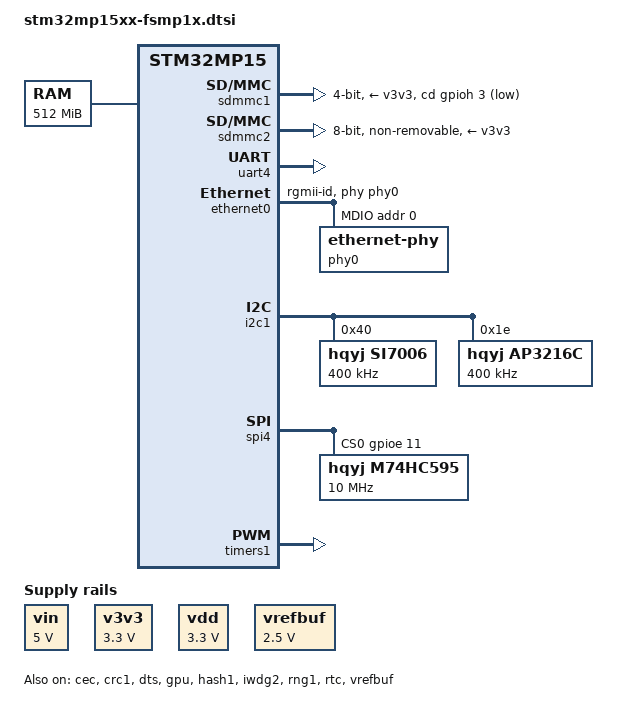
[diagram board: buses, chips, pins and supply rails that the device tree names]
// SPDX-License-Identifier: (GPL-2.0+ OR BSD-3-Clause)
/*
 * Copyright (C) STMicroelectronics 2019 - All Rights Reserved
 * Author: Alexandre Torgue <alexandre.torgue@st.com> for STMicroelectronics.
 */

#include "stm32mp15-m4-srm.dtsi"
#include "stm32mp15-m4-srm-pinctrl.dtsi"
#include <dt-bindings/gpio/gpio.h>
#include <dt-bindings/mfd/st,stpmic1.h>

/ {
	memory@c0000000 {
		device_type = "memory";
		reg = <0xc0000000 0x20000000>;
	};

	reserved-memory {
		#address-cells = <1>;
		#size-cells = <1>;
		ranges;

		mcuram2: mcuram2@10000000 {
			compatible = "shared-dma-pool";
			reg = <0x10000000 0x40000>;
			no-map;
		};

		vdev0vring0: vdev0vring0@10040000 {
			compatible = "shared-dma-pool";
			reg = <0x10040000 0x1000>;
			no-map;
		};

		vdev0vring1: vdev0vring1@10041000 {
			compatible = "shared-dma-pool";
			reg = <0x10041000 0x1000>;
			no-map;
		};

		vdev0buffer: vdev0buffer@10042000 {
			compatible = "shared-dma-pool";
			reg = <0x10042000 0x4000>;
			no-map;
		};

		mcuram: mcuram@30000000 {
			compatible = "shared-dma-pool";
			reg = <0x30000000 0x40000>;
			no-map;
		};

		retram: retram@38000000 {
			compatible = "shared-dma-pool";
			reg = <0x38000000 0x10000>;
			no-map;
		};

	};



	vin: vin {
		compatible = "regulator-fixed";
		regulator-name = "vin";
		regulator-min-microvolt = <5000000>;
		regulator-max-microvolt = <5000000>;
		regulator-always-on;
	};
		  v3v3: regulator-3p3v {
        compatible = "regulator-fixed";
        regulator-name = "v3v3";
        regulator-min-microvolt = <3300000>;
        regulator-max-microvolt = <3300000>;
        regulator-always-on;
        regulator-boot-on;
    };
	vdd: regulator-vdd { 
			  compatible = "regulator-fixed";
         regulator-name = "vdd";
         regulator-min-microvolt = <3300000>;
         regulator-max-microvolt = <3300000>;
         regulator-always-on;
         regulator-boot-on;
     };
};


&cec {
	pinctrl-names = "default", "sleep";
	pinctrl-0 = <&cec_pins_b>;
	pinctrl-1 = <&cec_sleep_pins_b>;
	status = "okay";
};

&crc1 {
	status = "okay";
};

&dma1 {
	sram = <&dma_pool>;
};

&dma2 {
	sram = <&dma_pool>;
};

&dts {
	status = "okay";
};

&gpu {
	contiguous-area = <&gpu_reserved>;
	status = "okay";
};

&hash1 {
	status = "okay";
};

&ipcc {
	status = "okay";
};

&iwdg2 {
	timeout-sec = <32>;
	status = "okay";
};


&rng1 {
	status = "okay";
};

&rtc {
	status = "okay";
};

&sdmmc1 {
	pinctrl-names = "default", "opendrain", "sleep";
	pinctrl-0 = <&sdmmc1_b4_pins_a>;
	pinctrl-1 = <&sdmmc1_b4_od_pins_a>;
	pinctrl-2 = <&sdmmc1_b4_sleep_pins_a>;
	cd-gpios = <&gpioh 3 (GPIO_ACTIVE_LOW | GPIO_PULL_UP)>;
	disable-wp;
	st,neg-edge;
	bus-width = <4>;
	vmmc-supply = <&v3v3>;
	status = "okay";
};
&sdmmc2  { 
  pinctrl-names  =  "default",  "opendrain",  "sleep"; 
  pinctrl-0  =  <&sdmmc2_b4_pins_a  &sdmmc2_d47_pins_a>; 
  pinctrl-1  =  <&sdmmc2_b4_od_pins_a  &sdmmc2_d47_pins_a>; 
  pinctrl-2  =  <&sdmmc2_b4_sleep_pins_a  &sdmmc2_d47_sleep_pins_a>; 
  non-removable; 
  no-sd; 
  no-sdio; 
  st,neg-edge; 
  bus-width  =  <8>; 
  vmmc-supply  =  <&v3v3>; 
  vqmmc-supply  =  <&vdd>; 
  mmc-ddr-3_3v; 
  status  =  "okay"; 
}; 
&sram {
	dma_pool: dma_pool@0 {
		reg = <0x50000 0x10000>;
		pool;
	};
};



&uart4 {
	pinctrl-names = "default", "sleep", "idle";
	pinctrl-0 = <&uart4_pins_a>;
	pinctrl-1 = <&uart4_sleep_pins_a>;
	pinctrl-2 = <&uart4_idle_pins_a>;
	pinctrl-3 = <&uart4_pins_a>;
	/delete-property/dmas;
	/delete-property/dma-names;
	status = "okay";
};


&vrefbuf {
	regulator-min-microvolt = <2500000>;
	regulator-max-microvolt = <2500000>;
	vdda-supply = <&vdd>;
	status = "okay";
};
&ethernet0  { 
  status  =  "okay";
  pinctrl-0  =  <&ethernet0_rgmii_pins_a>;
  pinctrl-1  =  <&ethernet0_rgmii_sleep_pins_a>;
  pinctrl-names  =  "default",  "sleep";
  phy-mode  =  "rgmii-id";
  max-speed  =  <1000>;
  phy-handle  =  <&phy0>;

  mdio0  {
    #address-cells  =  <1>;
    #size-cells  =  <0>;
    compatible  =  "snps,dwmac-mdio";
    phy0:  ethernet-phy@0  {
      reg  =  <0>;
    };
  };
};

&i2c1 {
	status = "okay";
	pinctrl-names = "default", "sleep";
	pinctrl-0 = <&i2c1_pins_b>;
	pinctrl-1 = <&i2c1_sleep_pins_b>;
	si7006@40{
		compatible = "hqyj,si7006";
		reg = <0x40>;
		clock-frequency = <400000>;
	};
	ap3216c@1e {
		compatible = "hqyj,ap3216c";
		reg = <0x1e>;
		clock-frequency = <400000>;
	};
};

&spi4 {
	pinctrl-names = "default", "sleep";
	pinctrl-0 = <&spi4_pins_b>;
	pinctrl-1 = <&spi4_sleep_pins_b>;
	cs-gpios = <&gpioe 11 0>;
	status = "okay";
	m74hc595@0{
		compatible = "hqyj,m74hc595";
		spi-max-frequency = <10000000>;
		reg = <0>;
	};
};


//fan pe9
#if 0
&timers1 {
    status = "okay";
	compatible = "hqyj,fan";
    pwm {                                                                                               
        pinctrl-0 = <&pwm1_pins_a>;
        pinctrl-1 = <&pwm1_sleep_pins_a>;
        status = "okay";
    };
};

#else
&timers1 {
	/* spare dmas for other usage */
	/delete-property/dmas;
	/delete-property/dma-names;
	status = "okay";
	pwm1: pwm {
		pinctrl-0 = <&pwm1_pins_a>;
		pinctrl-1 = <&pwm1_sleep_pins_a>;
		pinctrl-names = "default", "sleep";
		#pwm-cells = <2>;
		status = "okay";
	};
	  timer@0 {
		  status = "disabled";
	  };
};
#endif

